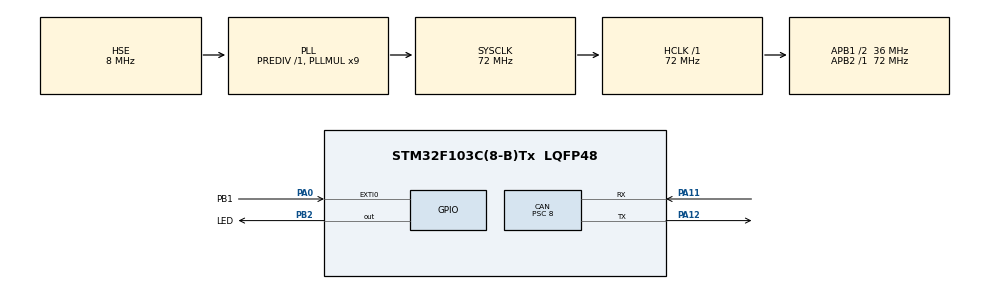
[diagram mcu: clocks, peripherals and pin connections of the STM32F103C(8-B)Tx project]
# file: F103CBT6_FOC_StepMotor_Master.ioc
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CAN.AWUM=ENABLE
CAN.BS1=CAN_BS1_5TQ
CAN.BS2=CAN_BS2_3TQ
CAN.CalculateBaudRate=500000
CAN.CalculateTimeBit=2000
CAN.CalculateTimeQuantum=222.22222222222223
CAN.Prescaler=8
CAN.SJW=CAN_SJW_1TQ
Mcu.Family=STM32F1
Mcu.Name=STM32F103C(8-B)Tx
Mcu.Package=LQFP48
NVIC.CAN1_SCE_IRQn=true\:0\:0\:false\:false\:true\:true\:true\:true
NVIC.EXTI0_IRQn=true\:0\:0\:false\:false\:true\:true\:true\:true
NVIC.PriorityGroup=NVIC_PRIORITYGROUP_4
NVIC.USB_LP_CAN1_RX0_IRQn=true\:0\:0\:false\:false\:true\:true\:true\:true
PA0-WKUP.GPIO_Label=PB1
PA0-WKUP.GPIO_PuPd=GPIO_PULLDOWN
PA0-WKUP.Signal=GPXTI0
PA11.Mode=CAN_Activate
PA11.Signal=CAN_RX
PA12.Mode=CAN_Activate
PA12.Signal=CAN_TX
PB2.GPIO_Label=LED
PB2.Signal=GPIO_Output
PD0-OSC_IN.Mode=HSE-External-Oscillator
PD0-OSC_IN.Signal=RCC_OSC_IN
PD1-OSC_OUT.Mode=HSE-External-Oscillator
PD1-OSC_OUT.Signal=RCC_OSC_OUT
ProjectManager.HeapSize=0x200
ProjectManager.StackSize=0x400
ProjectManager.TargetToolchain=STM32CubeIDE
RCC.AHBFreq_Value=72000000
RCC.APB1CLKDivider=RCC_HCLK_DIV2
RCC.APB1Freq_Value=36000000
RCC.APB1TimFreq_Value=72000000
RCC.APB2Freq_Value=72000000
RCC.APB2TimFreq_Value=72000000
RCC.HCLKFreq_Value=72000000
RCC.PLLMUL=RCC_PLL_MUL9
RCC.PLLSourceVirtual=RCC_PLLSOURCE_HSE
RCC.SYSCLKFreq_VALUE=72000000
RCC.SYSCLKSource=RCC_SYSCLKSOURCE_PLLCLK
RCC.USBFreq_Value=72000000
VP_SYS_VS_ND.Mode=No_Debug
board=custom

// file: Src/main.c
/* USER CODE BEGIN Header */
/**
  ******************************************************************************
  * @file           : main.c
  * @brief          : Main program body
  ******************************************************************************
  * @attention
  *
  * Copyright (c) 2026 STMicroelectronics.
  * All rights reserved.
  *
  * This software is licensed under terms that can be found in the LICENSE file
  * in the root directory of this software component.
  * If no LICENSE file comes with this software, it is provided AS-IS.
  *
  ******************************************************************************
  */
/* USER CODE END Header */
#include "main.h"
#include "can.h"
#include "gpio.h"

/* USER CODE BEGIN Includes */
#include <string.h>
/* USER CODE END Includes */

/* USER CODE BEGIN PV */
volatile uint8_t CMDSend = 0;

/* USER CODE END PV */

void SystemClock_Config(void);

/* USER CODE BEGIN 0 */
void HAL_GPIO_EXTI_Callback(uint16_t GPIO_Pin)
{
	if (GPIO_Pin == PB1_Pin)
	{
		CMDSend = CMDSend + 1;

		if(CMDSend == 2)
		{
			HAL_GPIO_WritePin(LED_GPIO_Port, LED_Pin, GPIO_PIN_SET);
			TxHeader.StdId = (TargetCAN_NodeId << 7) | 0x01; // Set Velocity SetPoint
			CAN_Send(&TxHeader, TxData);
		}
		else if(CMDSend == 3)
		{
			int32_t _val = 5; // Set Velocity SetPoint
			memcpy(TxData, &_val, sizeof(_val));
			TxHeader.StdId = (TargetCAN_NodeId << 7) | 0x04; // Set Velocity SetPoint
			CAN_Send(&TxHeader, TxData);
		}
		else if(CMDSend == 4)
		{
			int32_t _val = 1; // Set Velocity SetPoint
			memcpy(TxData, &_val, sizeof(_val));
			TxHeader.StdId = (TargetCAN_NodeId << 7) | 0x04; // Set Velocity SetPoint
			CAN_Send(&TxHeader, TxData);
		}
		else if(CMDSend == 5)
		{
			TxHeader.StdId = (TargetCAN_NodeId << 7) | 0x05; // Set Velocity SetPoint
/*
================================================================
			uint8_t* ConvertF2u8_CanBuf = (uint8_t*) &_val;
			for (uint8_t i = 0; i < 4; i++)
			{
				TxData[i] = *(ConvertF2u8_CanBuf + i);
			}
			CAN_Send(&TxHeader, TxData);
================================================================
*/
			int32_t _val = -10; // Set Position SetPoint
			memcpy(TxData, &_val, sizeof(_val));
			TxData[4] = 0; // Ack
			CAN_Send(&TxHeader, TxData);
		}
		else if(CMDSend == 6)
		{
			int32_t _val = 0; // Set Position SetPoint
			memcpy(TxData, &_val, sizeof(_val));
			TxData[4] = 1; // Ack
			CAN_Send(&TxHeader, TxData);
		}
	}
}
/* USER CODE END 0 */

int main(void)
{

  /* MCU Configuration--------------------------------------------------------*/

  /* Reset of all peripherals, Initializes the Flash interface and the Systick. */
  HAL_Init();

  /* Configure the system clock */
  SystemClock_Config();

  /* Initialize all configured peripherals */
  MX_GPIO_Init();
  MX_CAN_Init();

  /* Infinite loop */
  /* USER CODE BEGIN WHILE */
  while (1)
  {
//	  if(HAL_GPIO_ReadPin(PB1_GPIO_Port,PB1_Pin) == 1)
//	  {
//		CMDSend = CMDSend + 1;
//
//		if(CMDSend == 2)
//		{
//			HAL_GPIO_WritePin(LED_GPIO_Port, LED_Pin, GPIO_PIN_SET);
//			TxHeader.StdId = (TargetCAN_NodeId << 7) | 0x01; // Set Velocity SetPoint
//			CAN_Send(&TxHeader, TxData);
//		}
//		else if(CMDSend == 4)
//		{
//			TxData[0] = 5;
//			TxHeader.StdId = (TargetCAN_NodeId << 7) | 0x04; // Set Velocity SetPoint
//			CAN_Send(&TxHeader, TxData);
//		}
		HAL_Delay(100);
//	  }
    /* USER CODE END WHILE */

  }
}

void SystemClock_Config(void)
{
  RCC_OscInitTypeDef RCC_OscInitStruct = {0};
  RCC_ClkInitTypeDef RCC_ClkInitStruct = {0};

  /** Initializes the RCC Oscillators according to the specified parameters
  * in the RCC_OscInitTypeDef structure.
  */
  RCC_OscInitStruct.OscillatorType = RCC_OSCILLATORTYPE_HSE;
  RCC_OscInitStruct.HSEState = RCC_HSE_ON;
  RCC_OscInitStruct.HSEPredivValue = RCC_HSE_PREDIV_DIV1;
  RCC_OscInitStruct.HSIState = RCC_HSI_ON;
  RCC_OscInitStruct.PLL.PLLState = RCC_PLL_ON;
  RCC_OscInitStruct.PLL.PLLSource = RCC_PLLSOURCE_HSE;
  RCC_OscInitStruct.PLL.PLLMUL = RCC_PLL_MUL9;
  if (HAL_RCC_OscConfig(&RCC_OscInitStruct) != HAL_OK)
  {
    Error_Handler();
  }

  /** Initializes the CPU, AHB and APB buses clocks
  */
  RCC_ClkInitStruct.ClockType = RCC_CLOCKTYPE_HCLK|RCC_CLOCKTYPE_SYSCLK
                              |RCC_CLOCKTYPE_PCLK1|RCC_CLOCKTYPE_PCLK2;
  RCC_ClkInitStruct.SYSCLKSource = RCC_SYSCLKSOURCE_PLLCLK;
  RCC_ClkInitStruct.AHBCLKDivider = RCC_SYSCLK_DIV1;
  RCC_ClkInitStruct.APB1CLKDivider = RCC_HCLK_DIV2;
  RCC_ClkInitStruct.APB2CLKDivider = RCC_HCLK_DIV1;

  if (HAL_RCC_ClockConfig(&RCC_ClkInitStruct, FLASH_LATENCY_2) != HAL_OK)
  {
    Error_Handler();
  }
}

void Error_Handler(void)
{
  __disable_irq();
  while (1)
  {
  }
}
